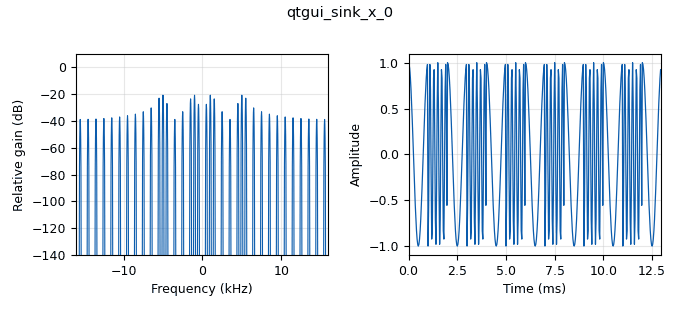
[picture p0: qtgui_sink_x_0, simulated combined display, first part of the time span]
<?xml version='1.0' encoding='utf-8'?>
<?grc format='1' created='3.7.10'?>
<flow_graph>
<block>
<key>options</key>
<param><key>id</key><value>top_block</value></param>
<param><key>category</key><value>Custom</value></param>
<param><key>generate_options</key><value>qt_gui</value></param>
</block>
<block>
<key>variable</key>
<param><key>id</key><value>frequency</value></param>
<param><key>value</key><value>500</value></param>
</block>
<block>
<key>variable</key>
<param><key>id</key><value>samp_rate</value></param>
<param><key>value</key><value>32000</value></param>
</block>
<block>
<key>variable</key>
<param><key>id</key><value>samp_rate_0</value></param>
<param><key>value</key><value>32000</value></param>
</block>
<block>
<key>analog_sig_source_x</key>
<param><key>id</key><value>analog_sig_source_x_0</value></param>
<param><key>amp</key><value>1</value></param>
<param><key>freq</key><value>500</value></param>
<param><key>offset</key><value>0</value></param>
<param><key>type</key><value>float</value></param>
<param><key>samp_rate</key><value>samp_rate</value></param>
<param><key>waveform</key><value>analog.GR_SQR_WAVE</value></param>
</block>
<block>
<key>analog_sig_source_x</key>
<param><key>id</key><value>analog_sig_source_x_1</value></param>
<param><key>amp</key><value>-1</value></param>
<param><key>freq</key><value>5000</value></param>
<param><key>offset</key><value>0</value></param>
<param><key>type</key><value>float</value></param>
<param><key>samp_rate</key><value>samp_rate</value></param>
<param><key>waveform</key><value>analog.GR_COS_WAVE</value></param>
</block>
<block>
<key>analog_sig_source_x</key>
<param><key>id</key><value>analog_sig_source_x_2</value></param>
<param><key>amp</key><value>1</value></param>
<param><key>freq</key><value>1000</value></param>
<param><key>offset</key><value>0</value></param>
<param><key>type</key><value>float</value></param>
<param><key>samp_rate</key><value>samp_rate</value></param>
<param><key>waveform</key><value>analog.GR_COS_WAVE</value></param>
</block>
<block>
<key>blocks_add_xx</key>
<param><key>id</key><value>blocks_add_xx_0</value></param>
<param><key>type</key><value>float</value></param>
</block>
<block>
<key>blocks_delay</key>
<param><key>id</key><value>blocks_delay_0</value></param>
<param><key>delay</key><value>12000</value></param>
<param><key>type</key><value>float</value></param>
</block>
<block>
<key>blocks_multiply_xx</key>
<param><key>id</key><value>blocks_multiply_xx_0</value></param>
<param><key>type</key><value>float</value></param>
</block>
<block>
<key>blocks_multiply_xx</key>
<param><key>id</key><value>blocks_multiply_xx_1</value></param>
<param><key>type</key><value>float</value></param>
</block>
<block>
<key>qtgui_sink_x</key>
<param><key>id</key><value>qtgui_sink_x_0</value></param>
<param><key>bw</key><value>samp_rate</value></param>
<param><key>fc</key><value>0</value></param>
<param><key>freqchangevar</key><value>None</value></param>
<param><key>fftsize</key><value>1024</value></param>
<param><key>showports</key><value>True</value></param>
<param><key>type</key><value>float</value></param>
<param><key>wintype</key><value>firdes.WIN_BLACKMAN_hARRIS</value></param>
</block>
<connection><source_block_id>analog_sig_source_x_0</source_block_id><sink_block_id>blocks_delay_0</sink_block_id><source_key>0</source_key><sink_key>0</sink_key></connection>
<connection><source_block_id>analog_sig_source_x_0</source_block_id><sink_block_id>blocks_multiply_xx_0</sink_block_id><source_key>0</source_key><sink_key>1</sink_key></connection>
<connection><source_block_id>analog_sig_source_x_1</source_block_id><sink_block_id>blocks_multiply_xx_0</sink_block_id><source_key>0</source_key><sink_key>0</sink_key></connection>
<connection><source_block_id>analog_sig_source_x_2</source_block_id><sink_block_id>blocks_multiply_xx_1</sink_block_id><source_key>0</source_key><sink_key>1</sink_key></connection>
<connection><source_block_id>blocks_add_xx_0</source_block_id><sink_block_id>qtgui_sink_x_0</sink_block_id><source_key>0</source_key><sink_key>0</sink_key></connection>
<connection><source_block_id>blocks_delay_0</source_block_id><sink_block_id>blocks_multiply_xx_1</sink_block_id><source_key>0</source_key><sink_key>0</sink_key></connection>
<connection><source_block_id>blocks_multiply_xx_0</source_block_id><sink_block_id>blocks_add_xx_0</sink_block_id><source_key>0</source_key><sink_key>0</sink_key></connection>
<connection><source_block_id>blocks_multiply_xx_1</source_block_id><sink_block_id>blocks_add_xx_0</sink_block_id><source_key>0</source_key><sink_key>1</sink_key></connection>
</flow_graph>
